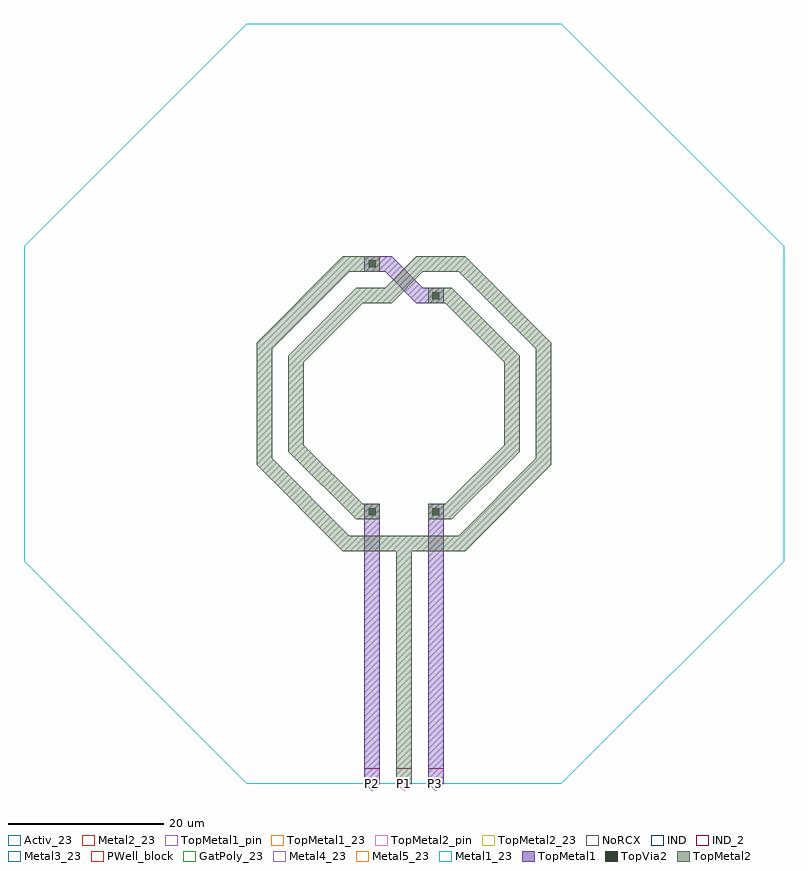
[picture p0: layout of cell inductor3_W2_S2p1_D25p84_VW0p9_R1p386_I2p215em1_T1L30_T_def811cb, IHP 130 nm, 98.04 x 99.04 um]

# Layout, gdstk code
import gdstk
lib = gdstk.Library(unit=1e-6, precision=1e-09)
def R(c, l, rs):  # rectangles x0, y0, x1, y1
    for r in rs: c.add(gdstk.rectangle(r[:2], r[2:], *l))
def P(c, l, *ps):  # polygons
    for p in ps: c.add(gdstk.Polygon(p, *l))
Activ_23 = (1, 23)
GatPoly_23 = (5, 23)
Metal1_23 = (8, 23)
Metal2_23 = (10, 23)
IND = (27, 0)
IND_2 = (27, 2)
Metal3_23 = (30, 23)
PWell_block = (46, 21)
Metal4_23 = (50, 23)
Metal5_23 = (67, 23)
TopMetal1 = (126, 0)
TopMetal1_pin = (126, 2)
TopMetal1_23 = (126, 23)
TopVia2 = (133, 0)
TopMetal2 = (134, 0)
TopMetal2_pin = (134, 2)
TopMetal2_23 = (134, 23)
NoRCX = (148, 0)

rectangle_gdsfactorypcom = lib.new_cell('rectangle_gdsfactorypcomponentspshapesprectangle_S0p9_0_c2a1d6bb')
R(rectangle_gdsfactorypcom, TopVia2, [(0,0,0.9,0.9)])

unnamed_15 = lib.new_cell('Unnamed_15')
R(unnamed_15, TopMetal2, [(-3.1,30,3.1,32)])

unnamed_13 = lib.new_cell('Unnamed_13')
P(unnamed_13, TopMetal2, [(-7.878,30),(-19.02,41.142),(-19.02,56.898),(-7.878,68.04),(-3.1,68.04),(-3.1,66.04),(-7.05,66.04),(-17.02,56.07),(-17.02,41.97),(-7.05,32),(-3.1,32),(-3.1,30)])

unnamed_11 = lib.new_cell('Unnamed_11')
P(unnamed_11, TopMetal2, [(-6.18,34.1),(-14.92,42.84),(-14.92,55.2),(-6.18,63.94),(-3.1,63.94),(-3.1,61.94),(-5.352,61.94),(-12.92,54.372),(-12.92,43.668),(-5.352,36.1),(-3.1,36.1),(-3.1,34.1)])

c_rectangle_gdsfactorypcom = lib.new_cell('rectangle_gdsfactorypcomponentspshapesprectangle_S2_2_L_c82b7716')
R(c_rectangle_gdsfactorypcom, TopMetal1_pin, [(0,0,2,2)])

unnamed_17 = lib.new_cell('Unnamed_17')
P(unnamed_17, TopMetal1, [(1.579,61.94),(-2.421,66.04),(-5.1,66.04),(-5.1,68.04),(-1.579,68.04),(2.421,63.94),(5.1,63.94),(5.1,61.94)])

c_rectangle_gdsfactorypcom_ = lib.new_cell('rectangle_gdsfactorypcomponentspshapesprectangle_S2_36p_6f803a44')
R(c_rectangle_gdsfactorypcom_, TopMetal1, [(0,0,2,36.1)])

c_rectangle_gdsfactorypcom__ = lib.new_cell('rectangle_gdsfactorypcomponentspshapesprectangle_S2_2_L_b543f7ed')
R(c_rectangle_gdsfactorypcom__, IND_2, [(0,0,2,2)])

unnamed_16 = lib.new_cell('Unnamed_16')
P(unnamed_16, TopMetal2, [(-3.1,61.94),(-3.1,63.94),(-2.421,63.94),(1.579,68.04),(3.1,68.04),(3.1,66.04),(2.421,66.04),(-1.579,61.94)])

unnamed_14 = lib.new_cell('Unnamed_14')
P(unnamed_14, TopMetal2, [(3.1,30),(3.1,32),(7.05,32),(17.02,41.97),(17.02,56.07),(7.05,66.04),(3.1,66.04),(3.1,68.04),(7.878,68.04),(19.02,56.898),(19.02,41.142),(7.878,30)])

c_rectangle_gdsfactorypcom___ = lib.new_cell('rectangle_gdsfactorypcomponentspshapesprectangle_S2_2_L_ef4d5838')
R(c_rectangle_gdsfactorypcom___, TopMetal2_pin, [(0,0,2,2)])

unnamed_12 = lib.new_cell('Unnamed_12')
P(unnamed_12, TopMetal2, [(3.1,34.1),(3.1,36.1),(5.352,36.1),(12.92,43.668),(12.92,54.372),(5.352,61.94),(3.1,61.94),(3.1,63.94),(6.18,63.94),(14.92,55.2),(14.92,42.84),(6.18,34.1)])

c_rectangle_gdsfactorypcom____ = lib.new_cell('rectangle_gdsfactorypcomponentspshapesprectangle_S2_30__9b4a582f')
R(c_rectangle_gdsfactorypcom____, TopMetal2, [(0,0,2,30)])

inductor3_w2_s2p1_d25p84 = lib.new_cell('inductor3_W2_S2p1_D25p84_VW0p9_R1p386_I2p215em1_T1L30_T_def811cb')
P(inductor3_w2_s2p1_d25p84, Activ_23, [(-20.305,0),(-49.02,28.715),(-49.02,69.325),(-20.305,98.04),(20.305,98.04),(49.02,69.325),(49.02,28.715),(20.305,0)])
P(inductor3_w2_s2p1_d25p84, GatPoly_23, [(-20.305,0),(-49.02,28.715),(-49.02,69.325),(-20.305,98.04),(20.305,98.04),(49.02,69.325),(49.02,28.715),(20.305,0)])
P(inductor3_w2_s2p1_d25p84, Metal1_23, [(-20.305,0),(-49.02,28.715),(-49.02,69.325),(-20.305,98.04),(20.305,98.04),(49.02,69.325),(49.02,28.715),(20.305,0)])
P(inductor3_w2_s2p1_d25p84, Metal2_23, [(-20.305,0),(-49.02,28.715),(-49.02,69.325),(-20.305,98.04),(20.305,98.04),(49.02,69.325),(49.02,28.715),(20.305,0)])
P(inductor3_w2_s2p1_d25p84, IND, [(-20.305,0),(-49.02,28.715),(-49.02,69.325),(-20.305,98.04),(20.305,98.04),(49.02,69.325),(49.02,28.715),(20.305,0)])
P(inductor3_w2_s2p1_d25p84, Metal3_23, [(-20.305,0),(-49.02,28.715),(-49.02,69.325),(-20.305,98.04),(20.305,98.04),(49.02,69.325),(49.02,28.715),(20.305,0)])
P(inductor3_w2_s2p1_d25p84, PWell_block, [(-20.305,0),(-49.02,28.715),(-49.02,69.325),(-20.305,98.04),(20.305,98.04),(49.02,69.325),(49.02,28.715),(20.305,0)])
P(inductor3_w2_s2p1_d25p84, Metal4_23, [(-20.305,0),(-49.02,28.715),(-49.02,69.325),(-20.305,98.04),(20.305,98.04),(49.02,69.325),(49.02,28.715),(20.305,0)])
P(inductor3_w2_s2p1_d25p84, Metal5_23, [(-20.305,0),(-49.02,28.715),(-49.02,69.325),(-20.305,98.04),(20.305,98.04),(49.02,69.325),(49.02,28.715),(20.305,0)])
P(inductor3_w2_s2p1_d25p84, TopMetal1_pin, [(-4.1,-1),(-5,-0.1),(-4.85,-0.1),(-4.1,-0.859),(-4.1,-0.1),(-5,-0.1),(-5.1,0),(-3.1,0)],
  [(4.1,-1),(3.2,-0.1),(3.35,-0.1),(4.1,-0.859),(4.1,-0.1),(3.2,-0.1),(3.1,0),(5.1,0)])
P(inductor3_w2_s2p1_d25p84, TopMetal1_23, [(-20.305,0),(-49.02,28.715),(-49.02,69.325),(-20.305,98.04),(20.305,98.04),(49.02,69.325),(49.02,28.715),(20.305,0)])
P(inductor3_w2_s2p1_d25p84, TopMetal2_pin, [(0,-1),(-0.9,-0.1),(-0.75,-0.1),(0,-0.859),(0,-0.1),(-0.9,-0.1),(-1,0),(1,0)])
P(inductor3_w2_s2p1_d25p84, TopMetal2_23, [(-20.305,0),(-49.02,28.715),(-49.02,69.325),(-20.305,98.04),(20.305,98.04),(49.02,69.325),(49.02,28.715),(20.305,0)])
P(inductor3_w2_s2p1_d25p84, NoRCX, [(-20.305,0),(-49.02,28.715),(-49.02,69.325),(-20.305,98.04),(20.305,98.04),(49.02,69.325),(49.02,28.715),(20.305,0)])
inductor3_w2_s2p1_d25p84.add(gdstk.Reference(rectangle_gdsfactorypcom, (-4.55,34.65)))
inductor3_w2_s2p1_d25p84.add(gdstk.Reference(rectangle_gdsfactorypcom, (3.65,34.65)))
inductor3_w2_s2p1_d25p84.add(gdstk.Reference(rectangle_gdsfactorypcom, (3.65,62.49)))
inductor3_w2_s2p1_d25p84.add(gdstk.Reference(rectangle_gdsfactorypcom, (-4.55,66.59)))
inductor3_w2_s2p1_d25p84.add(gdstk.Reference(unnamed_15, (0,0)))
inductor3_w2_s2p1_d25p84.add(gdstk.Reference(unnamed_13, (0,0)))
inductor3_w2_s2p1_d25p84.add(gdstk.Reference(unnamed_11, (0,0)))
inductor3_w2_s2p1_d25p84.add(gdstk.Reference(c_rectangle_gdsfactorypcom, (-5.1,0)))
inductor3_w2_s2p1_d25p84.add(gdstk.Reference(c_rectangle_gdsfactorypcom, (3.1,0)))
inductor3_w2_s2p1_d25p84.add(gdstk.Reference(unnamed_17, (0,0)))
inductor3_w2_s2p1_d25p84.add(gdstk.Reference(c_rectangle_gdsfactorypcom_, (-5.1,0)))
inductor3_w2_s2p1_d25p84.add(gdstk.Reference(c_rectangle_gdsfactorypcom_, (3.1,0)))
inductor3_w2_s2p1_d25p84.add(gdstk.Reference(c_rectangle_gdsfactorypcom__, (-5.1,0)))
inductor3_w2_s2p1_d25p84.add(gdstk.Reference(c_rectangle_gdsfactorypcom__, (-1,0)))
inductor3_w2_s2p1_d25p84.add(gdstk.Reference(c_rectangle_gdsfactorypcom__, (3.1,0)))
inductor3_w2_s2p1_d25p84.add(gdstk.Reference(unnamed_16, (0,0)))
inductor3_w2_s2p1_d25p84.add(gdstk.Reference(unnamed_14, (0,0)))
inductor3_w2_s2p1_d25p84.add(gdstk.Reference(c_rectangle_gdsfactorypcom___, (-1,0)))
inductor3_w2_s2p1_d25p84.add(gdstk.Reference(unnamed_12, (0,0)))
inductor3_w2_s2p1_d25p84.add(gdstk.Reference(c_rectangle_gdsfactorypcom____, (-1,0)))
inductor3_w2_s2p1_d25p84.add(gdstk.Label('P3', (4.1,0), layer=126, texttype=2))
inductor3_w2_s2p1_d25p84.add(gdstk.Label('P2', (-4.1,0), layer=126, texttype=2))
inductor3_w2_s2p1_d25p84.add(gdstk.Label('P1', (0,0), layer=134, texttype=2))

lib.write_gds('inductor3_W2_S2p1_D25p84_VW0p9_R1p386_I2p215em1_T1L30_T_def811cb.gds')
